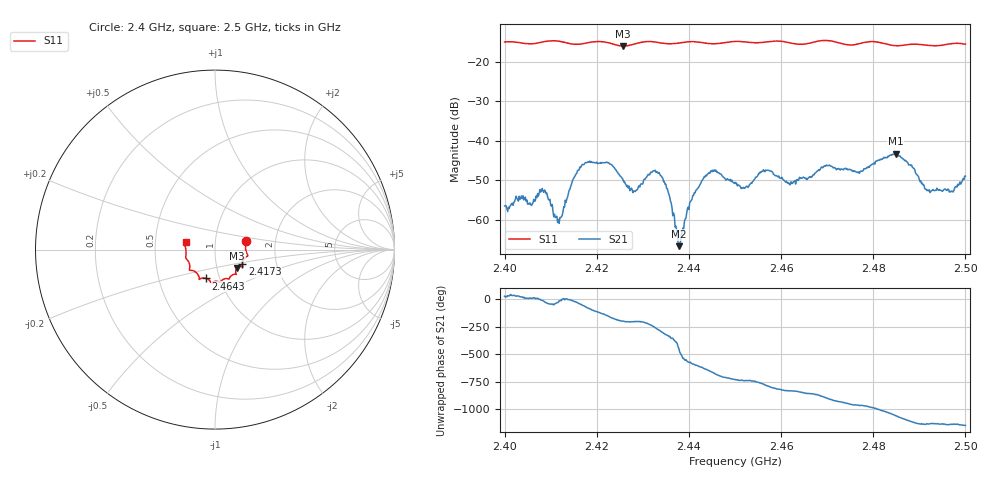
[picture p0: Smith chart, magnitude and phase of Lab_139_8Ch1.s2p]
# Hz S RI R 50
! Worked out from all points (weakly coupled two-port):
!   601 points, 2.4 GHz to 2.5 GHz, reference 50 ohm
!   highest |S21| = -43.28 dB at 2.4848 GHz (marker M1); lowest = -66.8 dB at 2.4378 GHz (marker M2)
!   lowest |S11| = -15.9 dB at 2.4257 GHz (marker M3), VSWR 1.38, Z = 62.5 - j13.1 ohm
!   |S11| at or under -10 dB: start of sweep to end of sweep
!   S12 and S22 are empty: the file has one direction only
!   S11 on the Smith chart (normalised r, x): 2.4 GHz: 1.41, +0.14; 2.4173 GHz: 1.34, -0.23; 2.4643 GHz: 0.86, -0.29; 2.5 GHz: 0.72, +0.06
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2.4e9  0.1736 0.0494  0.00133 0.000676  0 0  0 0
2.408167e9  0.1785 -0.0222  0.00245 -0.000424  0 0  0 0
2.412e9  0.1799 -0.0367  0.00103 -0.000255  0 0  0 0
2.416667e9  0.1531 -0.0744  0.00314 -0.00361  0 0  0 0
2.417333e9  0.1523 -0.0818  0.00225 -0.00459  0 0  0 0
2.422667e9  0.1478 -0.0941  -0.00479 -0.00202  0 0  0 0
2.425667e9  0.1227 -0.1024  -0.00308 0.00107  0 0  0 0
2.428333e9  0.1151 -0.1263  -0.00207 0.000935  0 0  0 0
2.433333e9  0.1129 -0.1369  0.000518 0.00384  0 0  0 0
2.4355e9  0.0982 -0.1403  0.00196 0.00107  0 0  0 0
2.437833e9  0.0835 -0.1534  -4.74e-06 -0.00046  0 0  0 0
2.440667e9  0.0785 -0.1643  -0.00123 0.00133  0 0  0 0
2.443833e9  0.0648 -0.1609  0.000609 0.00354  0 0  0 0
2.45e9  0.0293 -0.1809  0.00294 -0.000508  0 0  0 0
2.456667e9  -0.0113 -0.1797  0.00205 -0.00374  0 0  0 0
2.464333e9  -0.0498 -0.1608  -0.00207 -0.00268  0 0  0 0
2.466667e9  -0.0758 -0.1599  -0.00265 -0.00223  0 0  0 0
2.483333e9  -0.1404 -0.0901  0.00435 0.00456  0 0  0 0
2.484833e9  -0.1438 -0.0739  0.00639 0.00249  0 0  0 0
2.492e9  -0.161 -0.0255  0.00128 -0.00192  0 0  0 0
2.497e9  -0.1698 0.0264  0.0012 -0.00197  0 0  0 0
2.5e9  -0.1636 0.0423  0.00129 -0.00333  0 0  0 0
